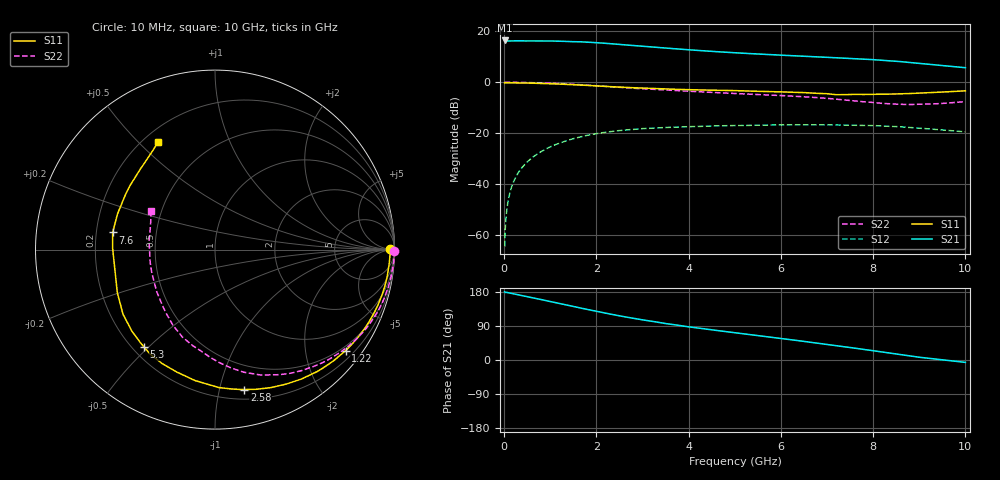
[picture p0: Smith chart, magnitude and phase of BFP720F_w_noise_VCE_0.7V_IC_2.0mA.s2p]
! Infineon Technologies  Discrete & RF Semiconductors
! BFP720F
! VCE =  0.7 V,  IC =  2.0 mA
! Common Emitter S-Parameters:  Jan 2016
# GHz  S  MA  R  50
!  f  S11  S21  S12  S22
! GHz  MAG  ANG  MAG  ANG  MAG  ANG  MAG  ANG
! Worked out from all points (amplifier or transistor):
!   233 points, 10 MHz to 10 GHz, reference 50 ohm
!   highest |S21| = 16.4 dB at 10 MHz (marker M1)
!   |S21| within 3 dB of that: start of sweep to 3.521 GHz
!   unconditionally stable (mu >= 1): start of sweep to 10.1 MHz
!   at 200 MHz: K = 0.01, MSG = 27.8 dB, |S12| = -39.3 dB
!   at 1.74 GHz: K = 0.15, MSG = 18.5 dB, |S12| = -21.1 dB
!   at 10 GHz: K = 0.94, MSG = 12.6 dB, |S12| = -19.5 dB
!   lowest NFmin = 0.43 dB at 450 MHz
!   S11 on the Smith chart (normalised r, x): 10 MHz: 74, +5; 1.22 GHz: 0.39, -2.88; 2.58 GHz: 0.28, -1.19; 5.3 GHz: 0.25, -0.48; 7.6 GHz: 0.27, +0.08; 10 GHz: 0.26, +0.57
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0.01  0.9736 0.1  6.628 179.8  0.0006 -5.5  0.9967 -0.4
0.015  0.9752 -0.2  6.512 179.0  0.0006 64.3  0.9983 -0.8
0.02  0.9769 -0.5  6.397 178.2  0.0012 92.3  1 -1.2
0.03  0.9763 -0.9  6.422 178.3  0.0017 91.0  0.9991 -1.2
0.085  0.9747 -2.6  6.485 177.7  0.0046 87.6  0.9979 -2.1
0.26  0.9714 -7.8  6.511 173.2  0.0141 84.8  0.9957 -6.3
0.48  0.965 -14.5  6.493 167.6  0.026 79.8  0.9884 -11.8
0.8  0.9497 -24.4  6.509 159.6  0.0432 72.4  0.9733 -19.8
1.22  0.9198 -37.7  6.4 148.6  0.0647 62.4  0.9395 -30.4
1.68  0.878 -52.5  6.222 136.5  0.0855 51.6  0.8896 -42.1
2.2  0.8294 -68.0  5.825 123.5  0.1042 39.8  0.8291 -54.4
2.58  0.797 -78.2  5.471 114.8  0.1141 32.0  0.7869 -62.2
2.96  0.7709 -87.4  5.142 106.7  0.1218 25.2  0.7488 -69.0
3.4  0.7424 -96.5  4.778 98.3  0.1278 18.0  0.7091 -75.4
4  0.7147 -107.3  4.35 87.5  0.1345 9.3  0.6638 -82.5
5.1  0.6799 -123.3  3.756 70.5  0.1417 -4.4  0.5958 -93.4
5.3  0.6714 -126.0  3.667 67.4  0.1426 -6.8  0.5835 -95.4
6.8  0.6046 -151.5  3.157 44.3  0.1457 -24.7  0.4963 -115.4
7.6  0.5782 170.5  2.898 31.3  0.143 -34.6  0.4296 -132.6
8.4  0.5857 148.2  2.625 17.5  0.1359 -45.4  0.3752 -159.8
9  0.6113 133.0  2.355 7.3  0.1255 -53.0  0.3701 173.3
10  0.6785 117.8  1.93 -6.3  0.1059 -62.0  0.417 148.6
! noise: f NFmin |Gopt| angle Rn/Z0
0.45  0.43  0.69  4  0.26
0.9  0.5  0.69  12  0.28
1.8  0.54  0.67  25  0.22
2.4  0.57  0.66  31  0.22
5.5  0.87  0.48  86  0.15
10  1.3  0.32  -135  0.15
